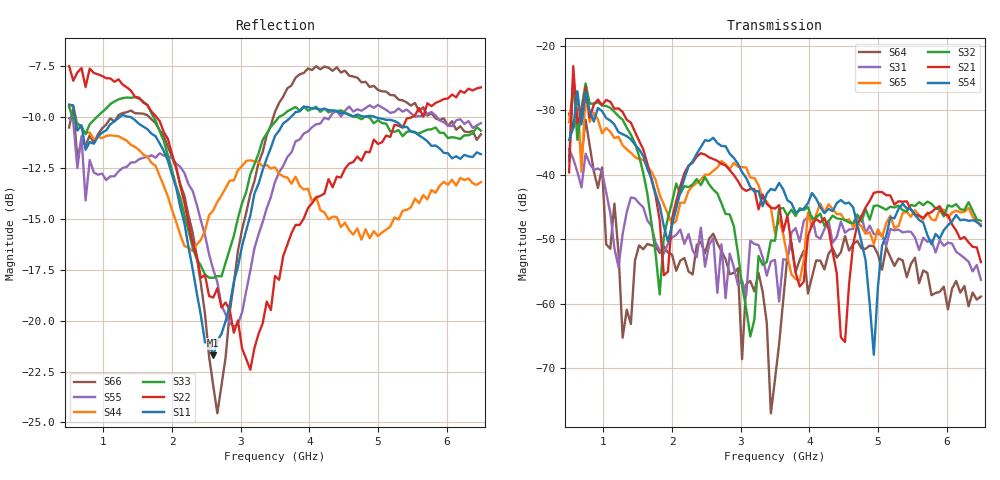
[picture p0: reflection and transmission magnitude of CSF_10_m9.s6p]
!Keysight Technologies,M9804A,MY58100912,A.14.10.03
!Date: Thursday, April 27, 2023 10:28:33
!Correction: S11(C  6-Port  )
!S12(C  6-Port  )
!S13(C  6-Port  )
!S14(C  6-Port  )
!S15(C  6-Port  )
!S16(C  6-Port  )
!S21(C  6-Port  )
!S22(C  6-Port  )
!S23(C  6-Port  )
!S24(C  6-Port  )
!S25(C  6-Port  )
!S26(C  6-Port  )
!S31(C  6-Port  )
!S32(C  6-Port  )
!S33(C  6-Port  )
!S34(C  6-Port  )
!S35(C  6-Port  )
!S36(C  6-Port  )
!S41(C  6-Port  )
!S42(C  6-Port  )
!S43(C  6-Port  )
!S44(C  6-Port  )
!S45(C  6-Port  )
!S46(C  6-Port  )
!S51(C  6-Port  )
!S52(C  6-Port  )
!S53(C  6-Port  )
!S54(C  6-Port  )
!S55(C  6-Port  )
!S56(C  6-Port  )
!S61(C  6-Port  )
!S62(C  6-Port  )
!S63(C  6-Port  )
!S64(C  6-Port  )
!S65(C  6-Port  )
!S66(C  6-Port  )
!S6P File: Measurement: :
# Hz S  RI  R 50
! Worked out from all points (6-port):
!   101 points, 500 MHz to 6.5 GHz, reference 50 ohm
!   strongest paths, dB at 500 MHz, 2 GHz, 3.5 GHz, 5 GHz, 6.5 GHz:
!     S54: -34.6, -47.9, -42.4, -57.3, -47.9
!     S21: -39.6, -46.8, -45.3, -42.7, -53.5
!     S32: -37.9, -44.2, -50.2, -44.8, -47.1
!     S65: -31.9, -47.7, -49.1, -48.5, -47.7
!     S31: -36.0, -49.7, -53.2, -49.1, -56.3
!     S64: -30.5, -52.4, -71.7, -52.3, -58.9
!   lowest |S11| = -21.7 dB at 2.6 GHz (marker M1), VSWR 1.18, Z = 42.7 + j2.08 ohm
!   |S11| at or under -10 dB: 588.4 MHz to 1.235 GHz (646.1 MHz wide, 70.9 % of centre); 1.405 GHz to 3.728 GHz (2.323 GHz wide, 90.5 % of centre); 4.967 GHz to end of sweep
